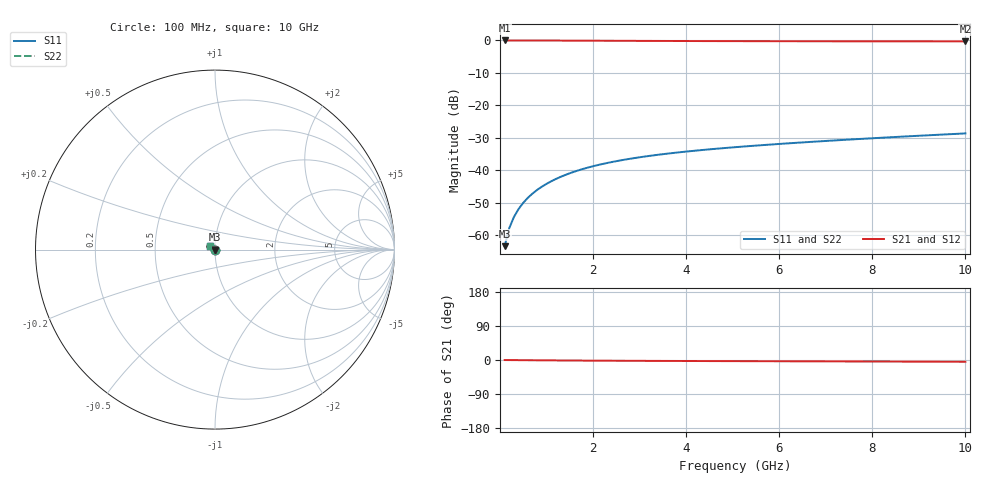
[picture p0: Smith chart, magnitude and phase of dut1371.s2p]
! Touchstone file exported from HFSS 2024.1.0
!  File:  C:/UserFiles/LocalFiles/RDL_TSV_Batchsim/temp_TSV1_1371_1780379159.aedt
!  Generated:  01:52:02 PM Jun  2, 2026
!  Design:  TSV1
!  Project:  temp_TSV1_1371_1780379159
!  Setup:  Setup1
!  Solution:  Sweep
! Variables:
!  dtsv = 7.21um
!  hbump = 3um
!  htsv = 65.86um
!  lrdl = 252.1521522um
!  p = 40
!  p1 = 58.6um
!  t = 500um
!  trdl = 3um
!  wrdl = 24.89489489um
# GHz S MA R 50.000000
! Terminal data exported
! Port[1] = TSV22_T1
! Port[2] = TSV22_T2
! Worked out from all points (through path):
!   100 points, 100 MHz to 10 GHz, reference 50 ohm
!   highest |S21| = 0.00 dB at 100 MHz (marker M1); lowest = -0.3 dB at 10 GHz (marker M2)
!   lowest |S11| = -63.4 dB at 100 MHz (marker M3), VSWR 1.00, Z = 50 - j0.0642 ohm
!   |S11| at or under -10 dB: start of sweep to end of sweep
!   |S22| runs from -63.4 to -28.6 dB; largest |S21 - S12| = 4.2e-15
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0.1  0.0006776 -71.3  0.9997 -0.1  0.9997 -0.1  0.0006776 -71.3
! Gamma 0 0 0 0
! Port Impedance 50 0 50 0
0.2  0.001286 -84.1  0.9996 -0.2  0.9996 -0.2  0.001286 -84.1
0.3  0.001908 -90.2  0.9995 -0.3  0.9995 -0.3  0.001908 -90.2
0.4  0.002531 -94.5  0.9993 -0.4  0.9993 -0.4  0.002531 -94.5
0.5  0.003152 -98.1  0.999 -0.5  0.999 -0.5  0.003152 -98.1
0.6  0.00377 -101.3  0.9987 -0.6  0.9987 -0.6  0.00377 -101.3
0.7  0.004383 -104.2  0.9983 -0.7  0.9983 -0.7  0.004383 -104.2
0.8  0.004991 -107.0  0.9979 -0.8  0.9979 -0.8  0.004991 -107.0
0.9  0.005591 -109.7  0.9975 -0.9  0.9975 -0.9  0.005591 -109.7
1.1  0.006766 -114.8  0.9965 -1.0  0.9965 -1.0  0.006766 -114.8
1.4  0.008457 -122.0  0.9949 -1.3  0.9949 -1.3  0.008457 -122.0
1.6  0.009531 -126.5  0.9937 -1.4  0.9937 -1.4  0.009531 -126.5
1.8  0.01056 -130.8  0.9924 -1.5  0.9924 -1.5  0.01056 -130.8
2.1  0.01202 -137.0  0.9905 -1.7  0.9905 -1.7  0.01202 -137.0
2.5  0.01382 -144.7  0.9879 -2.0  0.9879 -2.0  0.01382 -144.7
2.9  0.01547 -151.8  0.9855 -2.2  0.9855 -2.2  0.01547 -151.8
3.4  0.01735 -159.9  0.9827 -2.4  0.9827 -2.4  0.01735 -159.9
4.2  0.02006 -171.2  0.979 -2.7  0.979 -2.7  0.02006 -171.2
5.1  0.02282 178.0  0.9756 -3.0  0.9756 -3.0  0.02282 178.0
6.7  0.02744 162.9  0.9715 -3.6  0.9715 -3.6  0.02744 162.9
8.4  0.03229 150.8  0.9687 -4.1  0.9687 -4.1  0.03229 150.8
10  0.03695 142.0  0.9667 -4.7  0.9667 -4.7  0.03696 142.0
